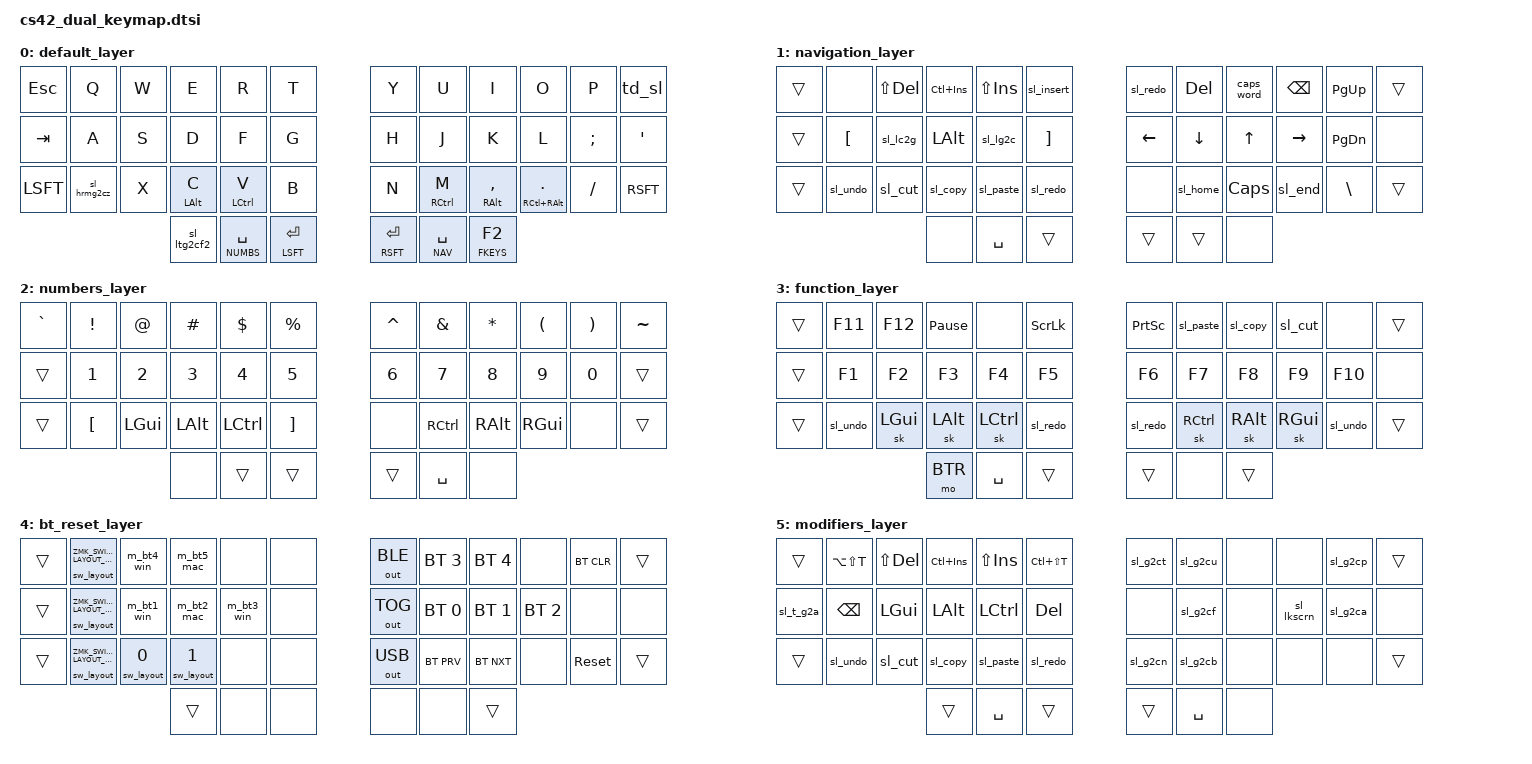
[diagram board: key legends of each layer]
#include <behaviors.dtsi>
#include <dt-bindings/zmk/keys.h>
#include <dt-bindings/zmk/bt.h>
#include <dt-bindings/zmk/reset.h>
#include <dt-bindings/zmk/outputs.h>
#include <dt-bindings/zmk-switch-layout/switch-layout.h>


#define DEFAULT 0       // qwerty layout
#define NAV     1       // arrows, del, backspace, brackets
#define NUMBS   2       // number keys, punctuation, brackets
#define FKEYS   3       // function keys
#define BTR     4       // bluetooth and reset
#define LMOD    5       // modifier keys and combinations

/ {
    
    behaviors {
        hrm: home_row_mod {
            compatible = "zmk,behavior-hold-tap";
            flavor = "tap-preferred";
            tapping-term-ms = <200>;    // produces hold if held longer than tapping-term-ms, default is 200 ms
            #quick-tap-ms = <200>;
            #global-quick-tap;
            #binding-cells = <2>;
            bindings = <&kp>, <&kp>;
        }; // hrm
        sw_layout: switch_layout {
            compatible = "zmk-switch-layout,behavior-switch-layout-mode";
            #binding-cells = <1>;
            layout-count = <2>;         // 0 is mac, 1 is windows
            default-layout = <0>;
        };
        sl_cut: switch_layout_cut {
            compatible = "zmk-switch-layout,behavior-switch-layout-key";
            #binding-cells = <0>;
            bindings = <&kp LG(X)>, <&kp LC(X)>;
        };
        sl_copy: switch_layout_copy {
            compatible = "zmk-switch-layout,behavior-switch-layout-key";
            #binding-cells = <0>;
            bindings = <&kp LG(C)>, <&kp LC(C)>;
        };
        sl_paste: switch_layout_paste {
            compatible = "zmk-switch-layout,behavior-switch-layout-key";
            #binding-cells = <0>;
            bindings = <&kp LG(V)>, <&kp LC(V)>;
        };
        sl_undo: switch_layout_undo {
            compatible = "zmk-switch-layout,behavior-switch-layout-key";
            #binding-cells = <0>;
            bindings = <&kp LG(Z)>, <&kp LC(Z)>;
        };
        sl_redo: switch_layout_redo {
            compatible = "zmk-switch-layout,behavior-switch-layout-key";
            #binding-cells = <0>;
            bindings = <&kp LG(Y)>, <&kp LC(Y)>;
        };
        sl_lkscrn: switch_layout_lock_screen {
            compatible = "zmk-switch-layout,behavior-switch-layout-key";
            #binding-cells = <0>;
            bindings = <&kp LG(LC(Q))>, <&kp LG(L)>;
        };
        sl_lc2g: switch_layout_left_c2g {
            compatible = "zmk-switch-layout,behavior-switch-layout-key";
            #binding-cells = <0>;
            bindings = <&kp LCTRL>, <&kp LGUI>;
        };
        sl_lg2c: switch_layout_left_g2c {
            compatible = "zmk-switch-layout,behavior-switch-layout-key";
            #binding-cells = <0>;
            bindings = <&kp LGUI>, <&kp LCTRL>;
        };
        //sl_rc2g: switch_layout_right_c2g {
        //    compatible = "zmk-switch-layout,behavior-switch-layout-key";
        //    #binding-cells = <0>;
        //    bindings = <&kp RCTRL>, <&kp RGUI>;
        //};
        //sl_rg2c: switch_layout_right_g2c {
        //    compatible = "zmk-switch-layout,behavior-switch-layout-key";
        //    #binding-cells = <0>;
        //    bindings = <&kp RGUI>, <&kp RCTRL>;
        //};
        sl_home: switch_layout_home {
            compatible = "zmk-switch-layout,behavior-switch-layout-key";
            #binding-cells = <0>;
            bindings = <&kp LG(LEFT)>, <&kp HOME>;
        };
        sl_end: switch_layout_end {
            compatible = "zmk-switch-layout,behavior-switch-layout-key";
            #binding-cells = <0>;
            bindings = <&kp LG(RIGHT)>, <&kp END>;
        };
        sl_insert: switch_layout_insert {
            compatible = "zmk-switch-layout,behavior-switch-layout-key";
            #binding-cells = <0>;
            bindings = <&kp LG(LA(O))>, <&kp INSERT>;
        };
        //sl_os_lc2g: switch_layout_one_shot_lc2g {
        //    compatible = "zmk-switch-layout,behavior-switch-layout-key";
        //    #binding-cells = <0>;
        //    bindings = <&sk LCTRL>, <&sk LGUI>;
        //};
        //sl_os_lg2c: switch_layout_one_shot_lg2c {
        //    compatible = "zmk-switch-layout,behavior-switch-layout-key";
        //    #binding-cells = <0>;
        //    bindings = <&sk LGUI>, <&sk LCTRL>;
        //};
        //sl_os_rc2g: switch_layout_one_shot_rc2g {
        //    compatible = "zmk-switch-layout,behavior-switch-layout-key";
        //    #binding-cells = <0>;
        //    bindings = <&sk RCTRL>, <&sk RGUI>;
        //};
        //sl_os_rg2c: switch_layout_one_shot_rg2c {
        //    compatible = "zmk-switch-layout,behavior-switch-layout-key";
        //    #binding-cells = <0>;
        //    bindings = <&sk RGUI>, <&sk RCTRL>;
        //};
        //sl_g2ctab: switch_layout_g2c_tab {
        //    compatible = "zmk-switch-layout,behavior-switch-layout-key";
        //    #binding-cells = <0>;
        //    bindings = <&kp LG(TAB)>, <&kp LC(TAB)>;
        //};
        sl_t_g2a: switch_layout_tog_g2a {
            compatible = "zmk-switch-layout,behavior-switch-layout-key";
            #binding-cells = <0>;
            bindings = <&kt LGUI>, <&kt LALT>;
        };
        sl_hrmg2cz: switch_layout_hrm_g2c_z {
            compatible = "zmk-switch-layout,behavior-switch-layout-key";
            #binding-cells = <0>;
            bindings = <&hrm LGUI Z>, <&hrm LCTRL Z>;
        };
        sl_g2ct: switch_layout_g2c_t {
            compatible = "zmk-switch-layout,behavior-switch-layout-key";
            #binding-cells = <0>;
            bindings = <&kp RG(T)>, <&kp RC(T)>;
        };
        sl_g2cn: switch_layout_g2c_n {
            compatible = "zmk-switch-layout,behavior-switch-layout-key";
            #binding-cells = <0>;
            bindings = <&kp RG(N)>, <&kp RC(N)>;
        };
        sl_g2cu: switch_layout_g2c_u {
            compatible = "zmk-switch-layout,behavior-switch-layout-key";
            #binding-cells = <0>;
            bindings = <&kp RG(U)>, <&kp RC(U)>;
        };
        sl_g2cf: switch_layout_g2c_f {
            compatible = "zmk-switch-layout,behavior-switch-layout-key";
            #binding-cells = <0>;
            bindings = <&kp RG(F)>, <&kp RC(F)>;
        };
        sl_g2cb: switch_layout_g2c_b {
            compatible = "zmk-switch-layout,behavior-switch-layout-key";
            #binding-cells = <0>;
            bindings = <&kp RG(B)>, <&kp RC(B)>;
        };
        sl_g2cp: switch_layout_g2c_p {
            compatible = "zmk-switch-layout,behavior-switch-layout-key";
            #binding-cells = <0>;
            bindings = <&kp RG(P)>, <&kp RC(P)>;
        };
        sl_g2ca: switch_layout_g2c_a {
            compatible = "zmk-switch-layout,behavior-switch-layout-key";
            #binding-cells = <0>;
            bindings = <&kp RG(A)>, <&kp RC(A)>;
        };
        sl_ltg2cf2: switch_layout_lt_g2c_f2 {
            compatible = "zmk-switch-layout,behavior-switch-layout-key";
            #binding-cells = <0>;
            bindings = <&lt LMOD LG(F2)>, <&lt LMOD LC(F2)>;
        };
        td_sl: tap_dance_switch_layout {
            compatible = "zmk,behavior-tap-dance";
            #binding-cells = <0>;
            tapping-term-ms = <300>;
            bindings = <&sw_layout 0>, <&sw_layout 1>;
        };
    }; // behaviors

    combos {
        compatible = "zmk,combos";
        // q & w -> ~
        combo_tilde {
            timeout-ms = <50>;
            key-positions = <1 2>;
            bindings = <&kp TILDE>;
        };
        // r & t -> +
        combo_plus_l {
            timeout-ms = <50>;
            key-positions = <4 5>;
            bindings = <&kp PLUS>;
        };
        // y & u -> -
        combo_minus {
            timeout-ms = <50>;
            key-positions = <6 7>;
            bindings = <&kp MINUS>;
        };
        // o & p -> `
        combo_grave {
            timeout-ms = <50>;
            key-positions = <9 10>;
            bindings = <&kp GRAVE>;
        };
        // f & g -> =
        combo_equal_l {
            timeout-ms = <50>;
            key-positions = <16 17>;
            bindings = <&kp EQUAL>;
        };
        // h & j -> _
        combo_under {
            timeout-ms = <50>;
            key-positions = <18 19>;
            bindings = <&kp UNDER>;
        };
        // z & x -> |
        combo_pipe {
            timeout-ms = <50>;
            key-positions = <25 26>;
            bindings = <&kp PIPE>;
        };
        // x & c -> /
        combo_slash {
            timeout-ms = <50>;
            key-positions = <26 27>;
            bindings = <&kp SLASH>;
        };
        // c & v -> 
        combo_backslash {
            timeout-ms = <50>;
            key-positions = <27 28>;
            bindings = <&kp BSLH>;
        };
        // n & m -> =
        combo_equal_r {
            timeout-ms = <50>;
            key-positions = <30 31>;
            bindings = <&kp EQUAL>;
        };
        // m & , -> +
        combo_plus_r {
            timeout-ms = <50>;
            key-positions = <31 32>;
            bindings = <&kp PLUS>;
        };
        // , & . -> =
        //combo_equal_r {
        //    timeout-ms = <50>;
        //    key-positions = <32 33>;
        //    bindings = <&kp EQUAL>;
        //};
        // . & / -> '
        combo_apostrophe {
            timeout-ms = <50>;
            key-positions = <33 34>;
            bindings = <&kp APOSTROPHE>;
        };
    };

    macros {
        m_bt1_win: macro_bt_0_layout_win {
            compatible = "zmk,behavior-macro";
            #binding-cells = <0>;
            bindings
                = <&bt BT_SEL 0>
                , <&sw_layout 1>
                ;
        };
        m_bt2_mac: macro_bt_1_layout_mac {
            compatible = "zmk,behavior-macro";
            #binding-cells = <0>;
            bindings
                = <&bt BT_SEL 1>
                , <&sw_layout 0>
                ;
        };
        m_bt3_win: macro_bt_2_layout_win {
            compatible = "zmk,behavior-macro";
            #binding-cells = <0>;
            bindings
                = <&bt BT_SEL 2>
                , <&sw_layout 1>
                ;
        };
        m_bt4_win: macro_bt_3_layout_win {
            compatible = "zmk,behavior-macro";
            #binding-cells = <0>;
            bindings
                = <&bt BT_SEL 3>
                , <&sw_layout 1>
                ;
        };
        m_bt5_mac: macro_bt_4_layout_mac {
            compatible = "zmk,behavior-macro";
            #binding-cells = <0>;
            bindings
                = <&bt BT_SEL 4>
                , <&sw_layout 0>
                ;
        };
    };

    keymap {
        compatible = "zmk,keymap";

// kA1, kB1, kC1, kD1, kE1, kF1,           kG1, kH1, kI1, kJ1, kK1, kL1
// kA2, kB2, kC2, kD2, kE2, kF2,           kG2, kH2, kI2, kJ2, kK2, kL2
// kA3, kB3, kC3, kD3, kE3, kF3,           kG3, kH3, kI3, kJ3, kK3, kL3
//                     kE4, kF4, kA4, kN4, kG4, kH4,                   
        default_layer {
//                       ,------.                DEFAULT 0                 ,------.
//                ,------+   e  +-------------.              ,-------------+   i  +------.              
//  ,-------------+   w  +------+   r  |   t  |              |   y  |   u  +------+   o  +-------------.
//  | Esc  |   q  +------+   d  +------+------|              |------+------+   k  +------+   p  |td_sl |
//  |------+------+   s  +------+   f  |   g  |              |   h  |   j  +------+   l  +------+------|
//  | Tab  |   a  +------+   c  +------+------|              |------+------+   ,  +------+   ;  |   '  |
//  |------+------+   x  +------+   v  |   b  |              |   n  |   m  +------+   .  +------+------|
//  | Shift|   z  +------'      `-------------'              `-------------'      `------+   /  | Shift|
//  `-------------'             ,--------------------.,--------------------.             `-------------'
//                              |slg2cF2| Spc | Enter|| Enter|  Spc |  F2  |
//                              `--------------------'`--------------------'
//
//                       ,------.                DEFAULT 0                 ,------.
//                ,------+   E  +-------------.              ,-------------+   I  +------.              
//  ,-------------+   W  +------+   R  |   T  |              |   Y  |   U  +------+   O  +-------------.
//  |      |   Q  +------+   D  +------+------|              |------+------+   K  +------+   P  |      |
//  |------+------+   S  +------+   F  |   G  |              |   H  |   J  +------+   L  +------+------|
//  |      |   A  +------+   C  +------+------|              |------+------+   <  +------+   :  |   "  |
//  |------+------+   X  +------+   V  |   B  |              |   N  |   M  +------+   >  +------+------|
//  |      |   Z  +------'      `-------------'              `-------------'      `------+   ?  |      |
//  `-------------'             ,--------------------.,--------------------.             `-------------'
//                              |  LY5 |  LY2 | Shift|| Shift|  LY1 |  LY3 |
//                              `--------------------'`--------------------'
            bindings = <
        &kp ESC   &kp Q        &kp W  &kp E        &kp R         &kp T                                      &kp Y        &kp U         &kp I            &kp O              &kp P     &td_sl  
        &kp TAB   &kp A        &kp S  &kp D        &kp F         &kp G                                      &kp H        &kp J         &kp K            &kp L              &kp SEMI  &kp SQT 
        &kp LSFT  &sl_hrmg2cz  &kp X  &hrm LALT C  &hrm LCTRL V  &kp B                                      &kp N        &hrm RCTRL M  &hrm RALT COMMA  &hrm RC(RALT) DOT  &kp FSLH  &kp RSFT
                                                   &sl_ltg2cf2   &lt NUMBS SPC  &mt LSFT RET  &mt RSFT RET  &lt NAV SPC  &lt FKEYS F2                                                        
            >;
        };
        
        navigation_layer {
//                       ,------.                NAV     1                 ,------.
//                ,------+ Copy +-------------.              ,-------------+ CapWd+------.              
//  ,-------------+ Cut  +------+ Pste |sl_ins|              |sl_re |  Del +------+ Bksp +-------------.
//  | .... |      +------+ LALT +------+------|              |------+------+  Up  +------+ PgUp | .... |
//  |------+------+sl_c2g+------+sl_g2c| ]  } |              |  <-  |  Dn  +------+  ->  +------+------|
//  | .... | [  { +------+sl_cpy+------+------|              |------+------+ CapLk+------+ PgDn |      |
//  |------+------+sl_cut+------+sl_pst|sl_re |              |      |sl_hom+------+sl_end+------+------|
//  | .... |sl_un +------'      `-------------'              `-------------'      `------+ \  | | .... |
//  `-------------'             ,--------------------.,--------------------.             `-------------'
//                              |      |  Spc | .... || .... |> LY1<|      |
//                              `--------------------'`--------------------'
// Cut = Left_Shift + Delete    &kp LS(DEL)
// Copy = Left_Ctrl + Insert    &kp LC(INS)
// Paste = Left_Shift + Insert  &kp LS(INS)
            bindings = <
        &trans  &none     &kp LS(DEL)  &kp LC(INS)  &kp LS(INS)  &sl_insert                  &sl_redo  &kp DEL   &caps_word  &kp BKSP   &kp PG_UP  &trans
        &trans  &kp LBKT  &sl_lc2g     &kp LALT     &sl_lg2c     &kp RBKT                    &kp LEFT  &kp DOWN  &kp UP      &kp RIGHT  &kp PG_DN  &none 
        &trans  &sl_undo  &sl_cut      &sl_copy     &sl_paste    &sl_redo                    &none     &sl_home  &kp CAPS    &sl_end    &kp BSLH   &trans
                                                    &none        &kp SPC     &trans  &trans  &trans    &none                                             
            >;
        };

        numbers_layer {
//                       ,------.                NUMBS   2                 ,------.
//                ,------+   #  +-------------.              ,-------------+   *  +------.       
//  ,-------------+   @  +------+   $  |   %  |              |   ^  |   &  +------+   (  +-------------.
//  | `  ~ |   !  +------+ 3  # +------+------|              |------+------+ 8  * +------+   )  |   ~  |
//  |------+------+ 2  @ +------+ 4  $ | 5  % |              | 6  ^ | 7  & +------+ 9  ( +------+------|
//  | .... | 1  ! +------+ LALT +------+------|              |------+------+ RALT +------+ 0  ) | .... |
//  |------+------+ LGUI +------+ LCTL | ]  } |              |      | RCTL +------+ RGUI +------+------|
//  | .... | [  { +------'      `-------------'              `-------------'      `------+      | .... |
//  `-------------'             ,--------------------.,--------------------.             `-------------'
//                              |      |> LY2<| .... || .... |  Spc |      |
//                              `--------------------'`--------------------'
            bindings = <
        &kp GRAVE  &kp EXCL  &kp AT    &kp HASH  &kp DLLR   &kp PRCNT                  &kp CARET  &kp AMPS   &kp STAR  &kp LPAR  &kp RPAR  &kp TILDE
        &trans     &kp N1    &kp N2    &kp N3    &kp N4     &kp N5                     &kp N6     &kp N7     &kp N8    &kp N9    &kp N0    &trans   
        &trans     &kp LBKT  &kp LGUI  &kp LALT  &kp LCTRL  &kp RBKT                   &none      &kp RCTRL  &kp RALT  &kp RGUI  &none     &trans   
                                                 &none      &trans     &trans  &trans  &kp SPC    &none                                             
            >;
        };

        function_layer {
//                       ,------.                FKEYS   3                 ,------.
//                ,------+ Pause+-------------.              ,-------------+sl_cpy+------.       
//  ,-------------+  F12 +------+      | ScrLk|              | PrtSc|sl_pst+------+sl_cut +-------------.
//  | .... |  F11 +------+  F3  +------+------|              |------+------+  F8  +------+      | .... |
//  |------+------+  F2  +------+  F4  |  F5  |              |   F6 |  F7  +------+  F9  +------+------|
//  | .... |  F1  +------+(LALT)+------+------|              |------+------+(RALT)+------+  F10 |      |
//  |------+------+(LGUI)+------+(LCTL)|sl_re |              |sl_re |(RCTL)+------+(RGUI)+------+------|
//  | .... |sl_un +------'      `-------------'              `-------------'      `------+sl_un | .... |
//  `-------------'             ,--------------------.,--------------------.             `-------------'
//                              |  LY4 | Spc  | .... || .... |      |> LY3<|
//                              `--------------------'`--------------------'
            bindings = <
        &trans  &kp F11   &kp F12   &kp PAUSE_BREAK  &none      &kp SLCK                  &kp PSCRN  &sl_paste  &sl_copy   &sl_cut   &none     &trans
        &trans  &kp F1    &kp F2    &kp F3           &kp F4     &kp F5                    &kp F6     &kp F7     &kp F8     &kp F9    &kp F10   &none 
        &trans  &sl_undo  &sk LGUI  &sk LALT         &sk LCTRL  &sl_redo                  &sl_redo   &sk RCTRL  &sk RALT   &sk RGUI  &sl_undo  &trans
                                                     &mo BTR    &kp SPC   &trans  &trans  &none      &trans                                          
            >;
        };

        bt_reset_layer {
//                       ,------.                BTR     4                 ,------.
//                ,------+BT5_L0+-------------.              ,-------------+  BT5 +------.              
//  ,-------------+BT4_L1+------+      |      |              | OutBT|  BT4 +------+      +-------------.
//  | .... |swl_Df+------+BT2_L0+------+------|              |------+------+  BT2 +------+ BTCLR| .... |
//  |------+------+BT1_L1+------+BT3_L1|      |              | OutTg|  BT1 +------+  BT3 +------+------|
//  | .... |swl Nx+------+swl 1 +------+------|              |------+------+  BT+ +------+      |      |
//  |------+------+swl 0 +------+      |      |              | OutUs|  BT- +------+      +------+------|
//  | .... |swl Pv+------'      `-------------'              `-------------'      `------+ Reset| .... |
//  `-------------'             ,--------------------.,--------------------.             `-------------'
//                              |> LY4<|      |      ||      |      |> LY3<|
//                              `--------------------'`--------------------'
            bindings = <
        &trans  &sw_layout ZMK_SWITCH_LAYOUT_DEFAULT  &m_bt4_win    &m_bt5_mac    &none       &none                &out OUT_BLE  &bt BT_SEL 3  &bt BT_SEL 4  &none         &bt BT_CLR  &trans
        &trans  &sw_layout ZMK_SWITCH_LAYOUT_NEXT     &m_bt1_win    &m_bt2_mac    &m_bt3_win  &none                &out OUT_TOG  &bt BT_SEL 0  &bt BT_SEL 1  &bt BT_SEL 2  &none       &none 
        &trans  &sw_layout ZMK_SWITCH_LAYOUT_PREV     &sw_layout 0  &sw_layout 1  &none       &none                &out OUT_USB  &bt BT_PRV    &bt BT_NXT    &none         &sys_reset  &trans
                                                                                  &trans      &none  &none  &none  &none         &trans                                                      
            >;
        };

        modifiers_layer {
//                       ,------.                LMOD    5                 ,------.
//                ,------+ Copy +-------------.              ,-------------+      +------.       
//  ,-------------+ Cut  +------+ Pste | Time |              |sl_gct|sl_gcu+------+      +-------------.
//  | .... | Date +------+ LALT +------+------|              |------+------+      +------+sl_gcp| .... |
//  |------+------+ LGUI +------+ LCTL |  DEL |              |      |sl_gcf+------+sl_lck+------+------|
//  |sltg2a| Bksp +------+sl_cpy+------+------|              |------+------+      +------+sl_gca|      |
//  |------+------+sl_cut+------+sl_pst|sl_re |              |sl_gcn|sl_gcb+------+      +------+------|
//  | .... |sl_un +------'      `-------------'              `-------------'      `------+      | .... |
//  `-------------'             ,--------------------.,--------------------.             `-------------'
//                              |> LY5<|  Spc | .... || .... |  Spc |      |
//                              `--------------------'`--------------------'
// Cut = Left_Shift + Delete          &kp LS(DEL)
// Copy = Left_Ctrl + Insert          &kp LC(INS)
// Paste = Left_Shift + Insert        &kp LS(INS)
// Date = Left_Alt + Left_shift + T   &kp LA(LS(T))
// Time = Left_Ctrl + Left_Shift + T  &kp LC(LS(T))
            bindings = <
        &trans     &kp LA(LS(T))  &kp LS(DEL)  &kp LC(INS)  &kp LS(INS)  &kp LC(LS(T))                  &sl_g2ct  &sl_g2cu  &none   &none       &sl_g2cp  &trans
        &sl_t_g2a  &kp BKSP       &kp LGUI     &kp LALT     &kp LCTRL    &kp DEL                        &none     &sl_g2cf  &none   &sl_lkscrn  &sl_g2ca  &none 
        &trans     &sl_undo       &sl_cut      &sl_copy     &sl_paste    &sl_redo                       &sl_g2cn  &sl_g2cb  &none   &none       &none     &trans
                                                            &trans       &kp SPC        &trans  &trans  &kp SPC   &none                                         
            >;
        };
    };
};
